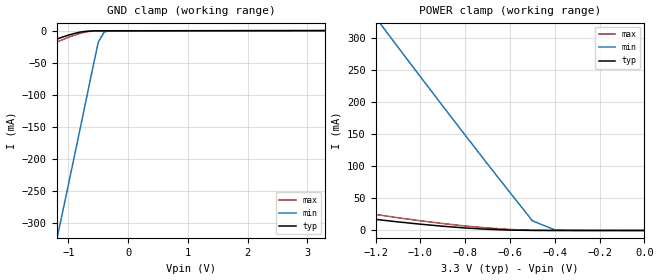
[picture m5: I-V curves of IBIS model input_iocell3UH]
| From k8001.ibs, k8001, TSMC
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|   Model input_iocell3UH
[Model]   input_iocell3UH
Model_type   Input
Polarity   Non-Inverting
Vinl =   0.8V
Vinh =   2.0V
C_comp   2.49e-12F   2.62e-12F   2.11e-12F
[Temperature Range]   25   125   0
[Voltage Range]   3.30V   3.00V   3.60V
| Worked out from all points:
|   GND clamp passes 1 mA (typ) near -0.70 V on its own axis
|   POWER clamp passes 1 mA (typ) near -0.63 V on its own axis
[POWER_clamp]
| voltage   I(typ)   I(min)   I(max)
-3.3V     141.8mA    1.34A      171.6mA
-2.8V     106.5mA    1.095A     131.4mA
-2.2V     68.79mA    805.3mA    87.66mA
-1.7V     40.91mA    567.2mA    54.38mA
-1.2V     17.38mA    332.7mA    25.04mA
-1.1V     13.41mA    286.3mA    19.91mA
-800mV    3.914mA    148.8mA    7.021mA
-600mV    574.4uA    59.23mA    1.576mA
-500mV    107.2uA    15.15mA    331.7uA
-400mV    35.58uA    884.2uA    51.54uA
0V        113.6nA    123.6nA    127.7nA
[GND_clamp]
| voltage   I(typ)   I(min)   I(max)
-3.3V     -87.3mA    -1.184A    -99.57mA
-2.4V     -57.18mA   -832.6mA   -67.65mA
-1.2V     -13.31mA   -328mA     -18.17mA
-1.1V     -10.05mA   -284.1mA   -14.23mA
-800mV    -2.245mA   -150.9mA   -4.036mA
-700mV    -983.2uA   -106.1mA   -1.853mA
-500mV    -322.7uA   -17.68mA   -366.6uA
-400mV    -291.1uA   -1.793mA   -316.8uA
-200mV    -274.2uA   -255.8uA   -297.7uA
3.3V      113.6nA    70.42uA    -23.38uA
